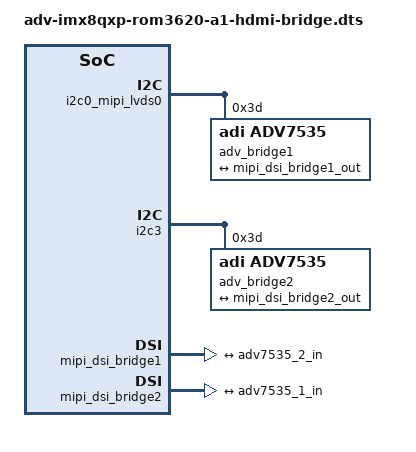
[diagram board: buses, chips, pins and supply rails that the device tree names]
/*
 * Copyright 2017-2019 Advantech
 *
 * This program is free software; you can redistribute it and/or
 * modify it under the terms of the GNU General Public License
 * as published by the Free Software Foundation; either version 2
 * of the License, or (at your option) any later version.
 *
 * This program is distributed in the hope that it will be useful,
 * but WITHOUT ANY WARRANTY; without even the implied warranty of
 * MERCHANTABILITY or FITNESS FOR A PARTICULAR PURPOSE.  See the
 * GNU General Public License for more details.
 */

#include "adv-imx8qxp-rom3620-a1.dts"

&i2c0_mipi_lvds0 {
	adv_bridge1: adv7535@3d {
		compatible = "adi,adv7535", "adi,adv7533";
		reg = <0x3d>;
		adi,dsi-lanes = <4>;
		adi,dsi-channel = <1>;
		status = "okay";

		port {
			adv7535_1_in: endpoint {
				remote-endpoint = <&mipi_dsi_bridge1_out>;
			};
		};
	};
};

&i2c3 {
	adv_bridge2: adv7535@3d {
		compatible = "adi,adv7535", "adi,adv7533";
		reg = <0x3d>;
		adi,dsi-lanes = <4>;
		adi,dsi-channel = <1>;
		status = "okay";

		port {
			adv7535_2_in: endpoint {
				remote-endpoint = <&mipi_dsi_bridge2_out>;
			};
		};
	};
};

&ldb1 {
	status = "disabled";
};

&ldb2 {
	status = "disabled";
};

&mipi_dsi_bridge1 {
	status = "okay";

	port@1 {
		mipi_dsi_bridge2_out: endpoint {
			remote-endpoint = <&adv7535_2_in>;
		};
	};
};

&mipi_dsi_bridge2 {
	status = "okay";

	port@1 {
		mipi_dsi_bridge1_out: endpoint {
			remote-endpoint = <&adv7535_1_in>;
		};
	};
};
